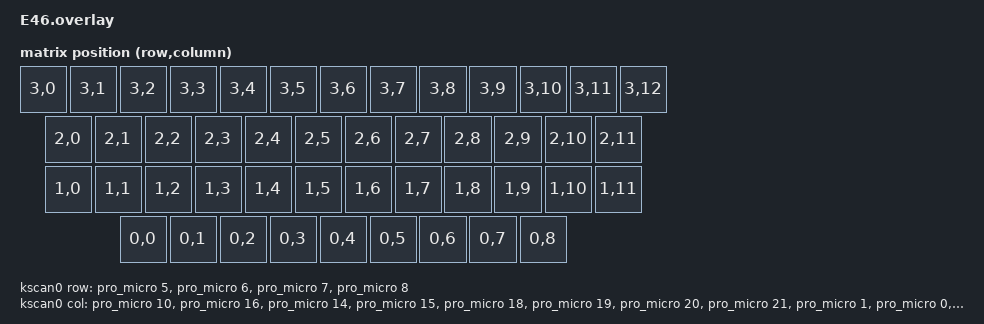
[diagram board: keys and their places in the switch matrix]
#include <dt-bindings/zmk/matrix_transform.h>

/ {
    chosen {
        zmk,kscan = &kscan0;
    };

    kscan0: kscan_0 {
        compatible = "zmk,kscan-gpio-matrix";
        diode-direction = "col2row";
        wakeup-source;

        col-gpios
            = <&pro_micro 10 GPIO_ACTIVE_HIGH>
            , <&pro_micro 16 GPIO_ACTIVE_HIGH>
            , <&pro_micro 14 GPIO_ACTIVE_HIGH>
            , <&pro_micro 15 GPIO_ACTIVE_HIGH>
            , <&pro_micro 18 GPIO_ACTIVE_HIGH>
            , <&pro_micro 19 GPIO_ACTIVE_HIGH>
            , <&pro_micro 20 GPIO_ACTIVE_HIGH>
            , <&pro_micro 21 GPIO_ACTIVE_HIGH>
            , <&pro_micro 1 GPIO_ACTIVE_HIGH>
            , <&pro_micro 0 GPIO_ACTIVE_HIGH>
            , <&pro_micro 2 GPIO_ACTIVE_HIGH>
            , <&pro_micro 3 GPIO_ACTIVE_HIGH>
            , <&pro_micro 4 GPIO_ACTIVE_HIGH>
            ;

        row-gpios
            = <&pro_micro 5 (GPIO_ACTIVE_HIGH | GPIO_PULL_DOWN)>
            , <&pro_micro 6 (GPIO_ACTIVE_HIGH | GPIO_PULL_DOWN)>
            , <&pro_micro 7 (GPIO_ACTIVE_HIGH | GPIO_PULL_DOWN)>
            , <&pro_micro 8 (GPIO_ACTIVE_HIGH | GPIO_PULL_DOWN)>
            ;
    };

    default_transform: keymap_transform_0 {
        compatible = "zmk,matrix-transform";
        columns = <13>;
        rows = <4>;
        // |  MX1  | MX2  | MX3  | MX4  | MX5  | MX6  | MX7  | MX8  | MX9  | MX10 | MX11 | MX12 | MX13 |         |
        // |   MX15 | MX16 | MX17 | MX18 | MX19 | MX20 | MX21 | MX22 | MX23 | MX34 | MX25 | MX26 | MX27 |  MX28   |
        // |    MX29  | MX30 | MX31 | MX32 | MX33 | MX34 | MX35 | MX36 | MX37 | MX38 | MX39 | MX40 |     MX41     |
        // |     MX42  | MX43 | MX44 | MX45 | MX46 | MX47 | MX48 | MX49 | MX50 | MX51 | MX52 |       MX53       |
                map = <
        RC(3,0) RC(3,1) RC(3,2) RC(3,3) RC(3,4) RC(3,5) RC(3,6) RC(3,7) RC(3,8) RC(3,9) RC(3,10) RC(3,11) RC(3,12)     
          RC(2,0) RC(2,1) RC(2,2) RC(2,3) RC(2,4) RC(2,5) RC(2,6) RC(2,7) RC(2,8) RC(2,9)      RC(2,10)   RC(2,11)
            RC(1,0) RC(1,1) RC(1,2) RC(1,3) RC(1,4) RC(1,5) RC(1,6) RC(1,7) RC(1,8)    RC(1,9)  RC(1,10) RC(1,11)
          RC(0,0) RC(0,1) RC(0,2)   RC(0,3)       RC(0,4)        RC(0,5)       RC(0,6)          RC(0,7) RC(0,8)
                >;
    };

    default_layout: default_layout {
        compatible = "zmk,physical-layout";
        display-name = "Default Layout";
        transform = <&default_transform>;
        kscan = <&kscan0>;
    };

};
